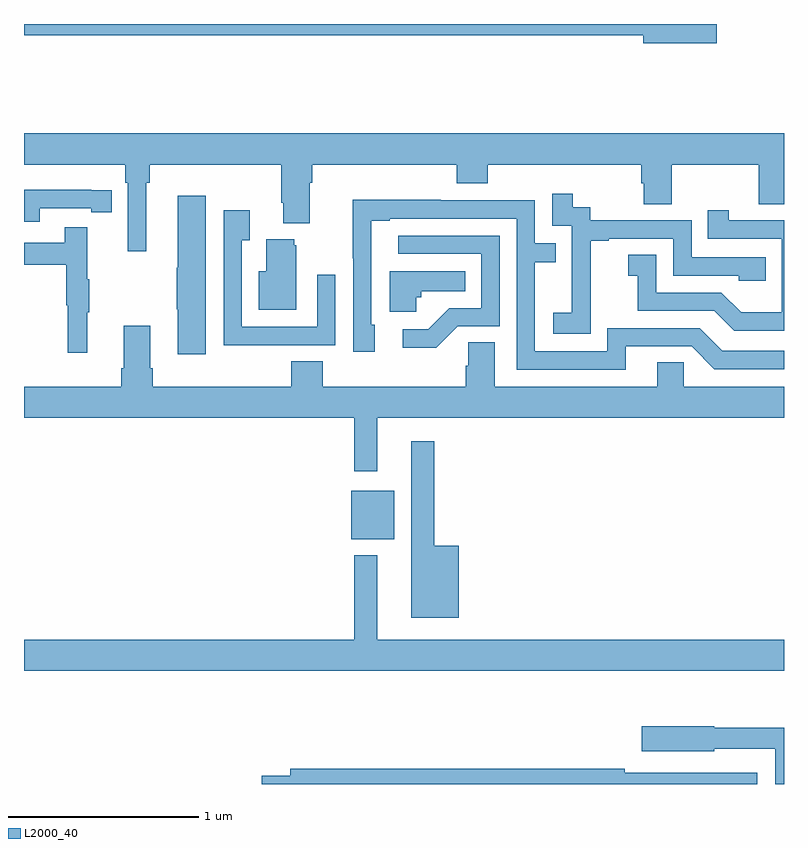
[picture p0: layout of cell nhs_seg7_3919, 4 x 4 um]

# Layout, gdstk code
import gdstk
lib = gdstk.Library(unit=1e-6, precision=1e-09)
def R(c, l, rs):  # rectangles x0, y0, x1, y1
    for r in rs: c.add(gdstk.rectangle(r[:2], r[2:], *l))
def P(c, l, *ps):  # polygons
    for p in ps: c.add(gdstk.Polygon(p, *l))
L2000_40 = (2000, 40)

nhs_seg7_3919 = lib.new_cell('nhs_seg7_3919')
R(nhs_seg7_3919, L2000_40, [(360.722,1021.289,360.949,1021.543)])
P(nhs_seg7_3919, L2000_40, [(362.647,1024),(359,1024),(359,1023.94),(362.258,1023.94),(362.258,1023.898),(362.647,1023.898)],
  [(359.644,1023.164),(359.663,1023.164),(359.663,1023.26),(360.353,1023.26),(360.353,1023.058),(360.365,1023.058),(360.365,1022.951),(360.505,1022.951),(360.505,1023.164),(360.518,1023.164),(360.518,1023.26),(361.277,1023.26),(361.277,1023.161),(361.442,1023.161),(361.442,1023.26),(362.249,1023.26),(362.249,1023.162),(362.261,1023.162),(362.261,1023.052),(362.409,1023.052),(362.409,1023.26),(362.866,1023.26),(362.866,1023.052),(363,1023.052),(363,1023.424),(359,1023.424),(359,1023.26),(359.534,1023.26),(359.534,1023.164),(359.547,1023.164),(359.547,1022.805),(359.644,1022.805)],
  [(359.082,1023.03),(359.354,1023.03),(359.354,1023.01),(359.462,1023.01),(359.462,1023.126),(359.354,1023.126),(359.354,1023.127),(359,1023.127),(359,1022.958),(359.082,1022.958)],
  [(361.983,1022.575),(361.982,1022.575),(361.982,1022.859),(362.077,1022.859),(362.077,1022.871),(362.418,1022.871),(362.418,1022.676),(362.763,1022.676),(362.763,1022.649),(362.903,1022.649),(362.903,1022.772),(362.514,1022.772),(362.514,1022.967),(361.98,1022.967),(361.98,1023.036),(361.888,1023.036),(361.888,1023.106),(361.779,1023.106),(361.779,1022.937),(361.884,1022.937),(361.884,1022.708),(361.883,1022.708),(361.883,1022.479),(361.785,1022.479),(361.785,1022.369),(361.983,1022.369)],
  [(359.956,1023.097),(359.81,1023.097),(359.81,1022.717),(359.803,1022.717),(359.803,1022.5),(359.81,1022.5),(359.81,1022.262),(359.956,1022.262)],
  [(362.167,1022.304),(362.514,1022.304),(362.634,1022.184),(363,1022.184),(363,1022.28),(362.676,1022.28),(362.556,1022.4),(362.07,1022.4),(362.07,1022.277),(361.689,1022.277),(361.689,1022.746),(361.799,1022.746),(361.799,1022.847),(361.689,1022.847),(361.689,1023.072),(361.193,1023.072),(361.193,1023.074),(360.73,1023.074),(360.73,1022.767),(360.732,1022.767),(360.732,1022.274),(360.847,1022.274),(360.847,1022.418),(360.828,1022.418),(360.828,1022.964),(360.925,1022.964),(360.925,1022.976),(361.593,1022.976),(361.593,1022.181),(362.167,1022.181)],
  [(360.323,1022.31),(360.639,1022.31),(360.639,1022.68),(360.543,1022.68),(360.543,1022.406),(360.147,1022.406),(360.147,1022.863),(360.187,1022.863),(360.187,1023.019),(360.051,1023.019),(360.051,1022.309),(360.323,1022.309)],
  [(363,1022.967),(362.71,1022.967),(362.71,1023.019),(362.599,1023.019),(362.599,1022.871),(362.988,1022.871),(362.988,1022.482),(362.774,1022.482),(362.67,1022.586),(362.328,1022.586),(362.328,1022.785),(362.181,1022.785),(362.181,1022.675),(362.23,1022.675),(362.23,1022.49),(362.633,1022.49),(362.738,1022.385),(363,1022.385)],
  [(359.333,1022.483),(359.344,1022.483),(359.344,1022.657),(359.333,1022.657),(359.333,1022.929),(359.215,1022.929),(359.215,1022.85),(359,1022.85),(359,1022.734),(359.223,1022.734),(359.223,1022.52),(359.23,1022.52),(359.23,1022.271),(359.333,1022.271)],
  [(361.284,1022.409),(361.503,1022.409),(361.503,1022.886),(360.969,1022.886),(360.969,1022.79),(361.407,1022.79),(361.407,1022.505),(361.238,1022.505),(361.127,1022.394),(360.993,1022.394),(360.993,1022.297),(361.171,1022.297)],
  [(360.433,1022.835),(360.422,1022.835),(360.422,1022.866),(360.275,1022.866),(360.275,1022.698),(360.236,1022.698),(360.236,1022.495),(360.433,1022.495)],
  [(361.065,1022.562),(361.092,1022.562),(361.092,1022.594),(361.322,1022.594),(361.322,1022.698),(360.926,1022.698),(360.926,1022.486),(361.065,1022.486)],
  [(360.859,1021.928),(363,1021.928),(363,1022.092),(362.472,1022.092),(362.472,1022.219),(362.333,1022.219),(362.333,1022.092),(361.477,1022.092),(361.477,1022.324),(361.338,1022.324),(361.338,1022.201),(361.325,1022.201),(361.325,1022.092),(360.572,1022.092),(360.572,1022.225),(360.407,1022.225),(360.407,1022.092),(359.678,1022.092),(359.678,1022.188),(359.665,1022.188),(359.665,1022.413),(359.525,1022.413),(359.525,1022.188),(359.513,1022.188),(359.513,1022.092),(359,1022.092),(359,1021.928),(360.738,1021.928),(360.738,1021.647),(360.859,1021.647)],
  [(361.288,1021.255),(361.159,1021.255),(361.159,1021.804),(361.037,1021.804),(361.037,1020.875),(361.288,1020.875)],
  [(363,1020.76),(360.859,1020.76),(360.859,1021.204),(360.738,1021.204),(360.738,1020.76),(359,1020.76),(359,1020.596),(363,1020.596)],
  [(363,1020.295),(362.634,1020.295),(362.634,1020.303),(362.25,1020.303),(362.25,1020.173),(362.634,1020.173),(362.634,1020.186),(362.955,1020.186),(362.955,1020),(363,1020)],
  [(362.86,1020.06),(362.162,1020.06),(362.162,1020.08),(360.401,1020.08),(360.401,1020.044),(360.252,1020.044),(360.252,1020),(362.86,1020)])

lib.write_gds('nhs_seg7_3919.gds')
